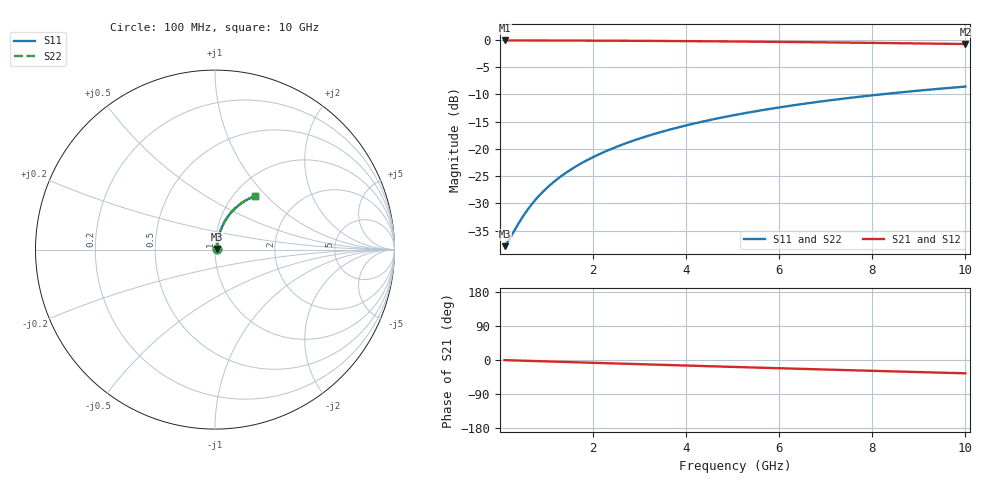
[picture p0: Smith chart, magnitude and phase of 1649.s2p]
# Hz S RI R 50.00
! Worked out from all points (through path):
!   100 points, 100 MHz to 10 GHz, reference 50 ohm
!   highest |S21| = -0.11 dB at 100 MHz (marker M1); lowest = -0.8 dB at 10 GHz (marker M2)
!   group delay of S21, straight-line fit = 9.78 ps
!   lowest |S11| = -37.8 dB at 100 MHz (marker M3), VSWR 1.03, Z = 51.2 + j0.42 ohm
!   |S11| at or under -10 dB: start of sweep to 8.189 GHz
!   |S22| runs from -37.8 to -8.6 dB; largest |S21 - S12| = 0
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1e8  0.0121 0.0041  0.9879 -0.00636  0.9879 -0.00636  0.0121 0.0041
2e8  0.0123 0.00819  0.9877 -0.0127  0.9877 -0.0127  0.0123 0.00819
4e8  0.0127 0.0164  0.9872 -0.0254  0.9872 -0.0254  0.0127 0.0164
5e8  0.013 0.0205  0.9869 -0.0318  0.9869 -0.0318  0.013 0.0205
6e8  0.0133 0.0245  0.9866 -0.0381  0.9866 -0.0381  0.0133 0.0245
7e8  0.0137 0.0286  0.9862 -0.0445  0.9862 -0.0445  0.0137 0.0286
9e8  0.0146 0.0367  0.9852 -0.0571  0.9852 -0.0571  0.0146 0.0367
1.1e9  0.0157 0.0448  0.984 -0.0697  0.984 -0.0697  0.0157 0.0448
1.3e9  0.017 0.0529  0.9825 -0.0823  0.9825 -0.0823  0.017 0.0529
1.5e9  0.0185 0.0609  0.9809 -0.0949  0.9809 -0.0949  0.0185 0.0609
1.8e9  0.0211 0.0729  0.978 -0.1136  0.978 -0.1136  0.0211 0.0729
2.1e9  0.0242 0.0847  0.9746 -0.1322  0.9746 -0.1322  0.0242 0.0847
2.5e9  0.029 0.1002  0.9693 -0.1568  0.9693 -0.1568  0.029 0.1002
2.9e9  0.0345 0.1154  0.9632 -0.1811  0.9632 -0.1811  0.0345 0.1154
3.4e9  0.0425 0.1338  0.9544 -0.2109  0.9544 -0.2109  0.0425 0.1338
4.2e9  0.0575 0.1621  0.9378 -0.2573  0.9378 -0.2573  0.0575 0.1621
5.1e9  0.0775 0.1915  0.9157 -0.3073  0.9157 -0.3073  0.0775 0.1915
5.9e9  0.0976 0.2153  0.8932 -0.3494  0.8932 -0.3494  0.0976 0.2153
6.7e9  0.1196 0.2368  0.8685 -0.3892  0.8685 -0.3892  0.1196 0.2368
7.5e9  0.1432 0.2557  0.8418 -0.4265  0.8418 -0.4265  0.1432 0.2557
8.4e9  0.1713 0.274  0.8099 -0.4655  0.8099 -0.4655  0.1713 0.274
1e10  0.2239 0.2982  0.7492 -0.5268  0.7492 -0.5268  0.2239 0.2982
